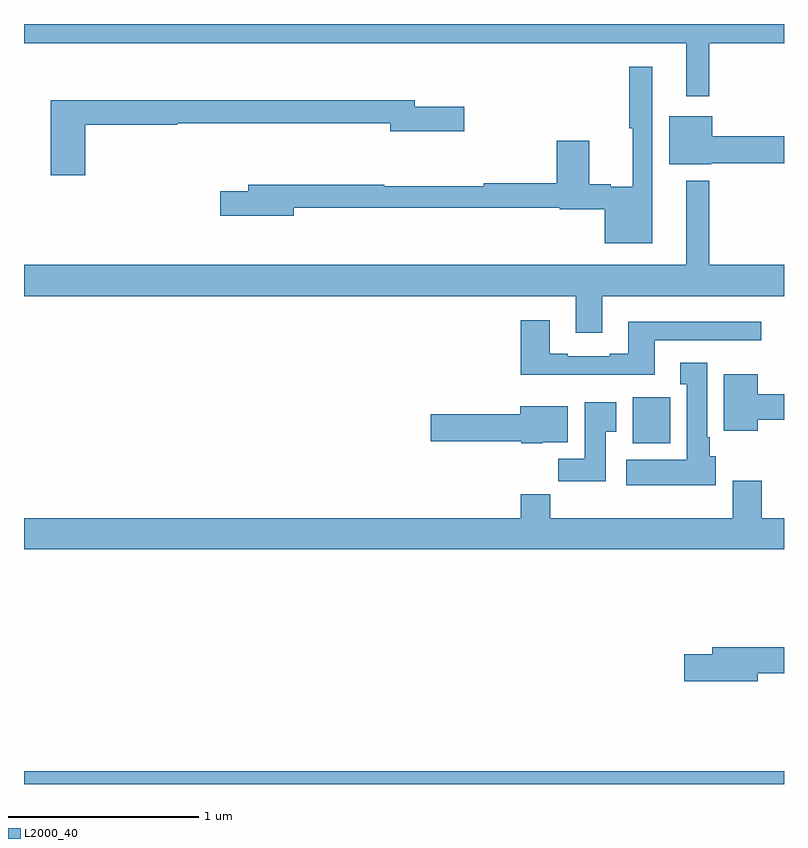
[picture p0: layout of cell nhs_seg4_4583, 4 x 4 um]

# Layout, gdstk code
import gdstk
lib = gdstk.Library(unit=1e-6, precision=1e-09)
def R(c, l, rs):  # rectangles x0, y0, x1, y1
    for r in rs: c.add(gdstk.rectangle(r[:2], r[2:], *l))
def P(c, l, *ps):  # polygons
    for p in ps: c.add(gdstk.Polygon(p, *l))
L2000_40 = (2000, 40)

nhs_seg4_4583 = lib.new_cell('nhs_seg4_4583')
R(nhs_seg4_4583, L2000_40, [(357,812.9,361,812.968), (360.203,814.694,360.4,814.936)])
P(nhs_seg4_4583, L2000_40, [(360.607,816.8),(361,816.8),(361,816.9),(357,816.9),(357,816.8),(360.485,816.8),(360.485,816.519),(360.607,816.519)],
  [(360.307,816.676),(360.186,816.676),(360.186,816.351),(360.203,816.351),(360.203,816.043),(360.089,816.043),(360.089,816.056),(359.974,816.056),(359.974,816.286),(359.804,816.286),(359.804,816.062),(359.42,816.062),(359.42,816.047),(358.897,816.047),(358.897,816.055),(358.181,816.055),(358.181,816.021),(358.032,816.021),(358.032,815.891),(358.42,815.891),(358.42,815.934),(359.82,815.934),(359.82,815.926),(360.056,815.926),(360.056,815.747),(360.307,815.747)],
  [(357.323,816.37),(357.806,816.37),(357.806,816.378),(358.928,816.378),(358.928,816.335),(359.317,816.335),(359.317,816.465),(359.056,816.465),(359.056,816.499),(357.14,816.499),(357.14,816.105),(357.323,816.105)],
  [(360.618,816.167),(361,816.167),(361,816.309),(360.622,816.309),(360.622,816.415),(360.395,816.415),(360.395,816.161),(360.618,816.161)],
  [(360.043,815.468),(361,815.468),(361,815.632),(360.607,815.632),(360.607,816.076),(360.485,816.076),(360.485,815.632),(357,815.632),(357,815.468),(359.903,815.468),(359.903,815.274),(360.043,815.274)],
  [(360.319,815.235),(360.88,815.235),(360.88,815.332),(360.179,815.332),(360.179,815.164),(360.083,815.164),(360.083,815.151),(359.863,815.151),(359.863,815.164),(359.767,815.164),(359.767,815.341),(359.615,815.341),(359.615,815.054),(360.319,815.054)],
  [(360.64,814.626),(360.61,814.626),(360.61,814.726),(360.595,814.726),(360.595,815.116),(360.455,815.116),(360.455,815.003),(360.488,815.003),(360.488,814.606),(360.171,814.606),(360.171,814.472),(360.64,814.472)],
  [(360.862,814.816),(361,814.816),(361,814.952),(360.862,814.952),(360.862,815.056),(360.683,815.056),(360.683,814.76),(360.862,814.76)],
  [(360.061,814.753),(360.118,814.753),(360.118,814.909),(359.951,814.909),(359.951,814.612),(359.812,814.612),(359.812,814.494),(360.061,814.494)],
  [(359.73,814.7),(359.863,814.7),(359.863,814.888),(359.612,814.888),(359.612,814.847),(359.142,814.847),(359.142,814.705),(359.616,814.705),(359.616,814.694),(359.73,814.694)],
  [(361,814.3),(360.884,814.3),(360.884,814.495),(360.731,814.495),(360.731,814.3),(359.771,814.3),(359.771,814.424),(359.615,814.424),(359.615,814.3),(357,814.3),(357,814.136),(361,814.136)],
  [(360.862,813.484),(361,813.484),(361,813.62),(360.623,813.62),(360.623,813.584),(360.474,813.584),(360.474,813.442),(360.862,813.442)])

lib.write_gds('nhs_seg4_4583.gds')
